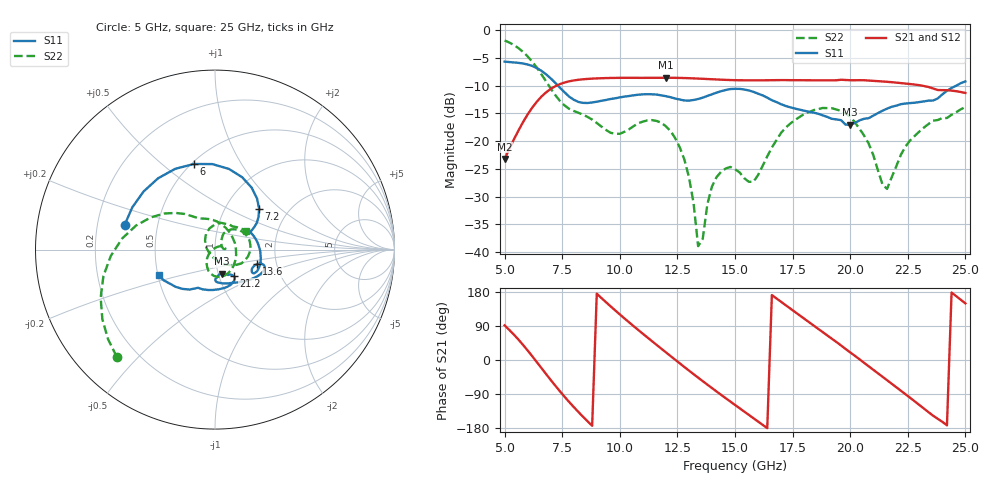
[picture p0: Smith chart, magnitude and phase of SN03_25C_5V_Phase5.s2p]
!File name = SN03_25C_5V_Phase5.s2p
!Date = 2/3/2014
!Time = 2:34 PM
!Test duration(min) = 0.07
!Test = SPars
!MPTS version = 7.120.8
!Comments =
!set_LD1(binary) = 5
!set_LD2(binary) = 524282
!test = SPars
!date_code = 20140203
!file_name = SN03_25C_5V_Phase5.s2p
!VREF(V) = 5.000
!VREF(mA) = 0.002
# GHz  S  DB  R  50
!%	Freq(GHz)  S11(dB)  S11(deg)  S21(dB)  S21(deg)  S12(dB)  S12(deg)  S22(dB)  S22(deg)
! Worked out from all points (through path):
!   101 points, 5 GHz to 25 GHz, reference 50 ohm
!   highest |S21| = -8.57 dB at 12 GHz (marker M1); lowest = -23.2 dB at 5 GHz (marker M2)
!   lowest |S11| = -17.1 dB at 20 GHz (marker M3), VSWR 1.33, Z = 52 - j14.3 ohm
!   |S11| at or under -10 dB: 7.317 GHz to 24.6 GHz (17.28 GHz wide, 108 % of centre)
!   |S22| runs from -39.0 to -1.8 dB; largest |S21 - S12| = 0.00076
!   S11 on the Smith chart (normalised r, x): 5 GHz: 0.32, +0.12; 6 GHz: 0.51, +0.65; 7.2 GHz: 1.43, +0.74; 13.6 GHz: 1.58, -0.27; 21.2 GHz: 1.17, -0.35; 25 GHz: 0.50, -0.16
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5  -5.65 164.5  -23.22 91.4  -23.23 91.4  -1.83 -132.6
6  -6.17 103.9  -15.18 25.1  -15.20 25.1  -4.71 -176.6
7.2  -9.48 42.9  -10.09 -67.7  -10.11 -67.7  -11.70 130.3
8.4  -13.10 26.4  -8.84 -149.5  -8.85 -149.5  -15.23 101.2
10.2  -11.96 -2.2  -8.58 109.9  -8.59 109.8  -18.32 -13.7
11.8  -11.74 -29.6  -8.57 30.0  -8.59 30.0  -16.69 -92.7
12  -11.89 -31.3  -8.57 20.3  -8.59 20.3  -17.33 -100.1
12.8  -12.66 -28.4  -8.62 -18.3  -8.62 -18.3  -23.30 -130.9
13.2  -12.58 -23.4  -8.68 -37.3  -8.69 -37.2  -31.15 -155.9
13.4  -12.40 -21.0  -8.71 -46.6  -8.72 -46.6  -38.96 168.9
13.6  -12.16 -19.3  -8.75 -55.9  -8.76 -55.8  -37.63 65.3
14  -11.55 -17.2  -8.83 -74.1  -8.84 -74.1  -28.19 28.8
15  -10.56 -21.2  -9.00 -118.5  -9.01 -118.5  -25.07 2.5
15.8  -11.10 -32.3  -9.03 -153.6  -9.04 -153.6  -27.35 31.5
16.6  -12.61 -49.4  -9.00 171.3  -9.01 171.3  -21.17 61.2
18.4  -14.84 -86.8  -9.03 91.5  -9.04 91.5  -14.42 26.9
20  -17.06 -73.9  -9.01 20.1  -9.01 20.1  -15.57 -27.4
21.2  -14.95 -54.7  -9.18 -34.9  -9.18 -35.0  -25.23 -87.6
21.6  -14.14 -56.0  -9.29 -53.3  -9.30 -53.4  -28.63 -155.1
21.8  -13.80 -58.7  -9.37 -62.6  -9.37 -62.6  -26.55 171.6
23.4  -12.70 -107.1  -10.23 -137.8  -10.23 -137.8  -16.91 87.4
25  -9.23 -155.6  -11.30 149.4  -11.31 149.4  -13.83 30.4
